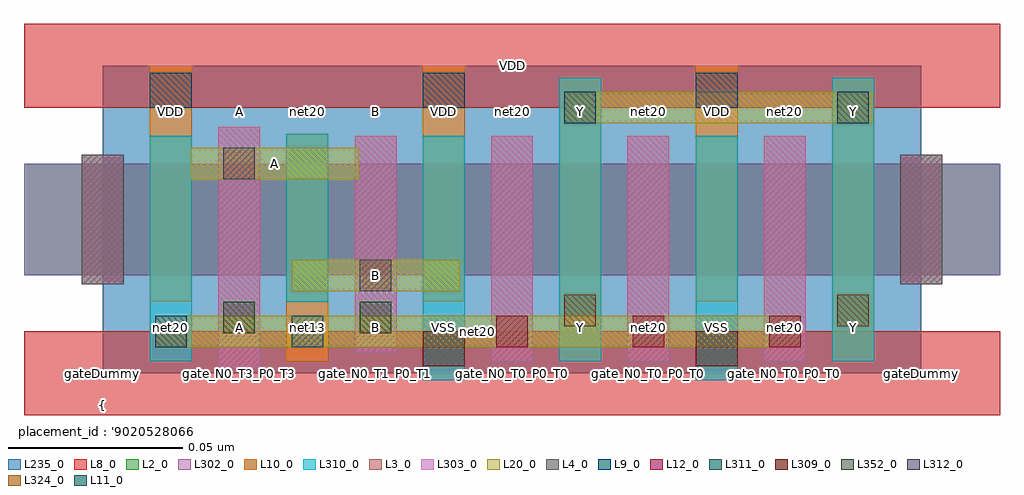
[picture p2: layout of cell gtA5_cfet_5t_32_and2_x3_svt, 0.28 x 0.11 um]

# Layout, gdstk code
import gdstk
lib = gdstk.Library(unit=1e-6, precision=2.5e-10)
def R(c, l, rs):  # rectangles x0, y0, x1, y1
    for r in rs: c.add(gdstk.rectangle(r[:2], r[2:], *l))
def A(c, l, x, y, w, h, nx, ny, dx, dy):  # array of equal rectangles
    R(c, l, [(x+i*dx, y+j*dy, x+i*dx+w, y+j*dy+h) for i in range(nx) for j in range(ny)])
L2_0 = (2, 0)
L3_0 = (3, 0)
L4_0 = (4, 0)
L8_0 = (8, 0)
L9_0 = (9, 0)
L10_0 = (10, 0)
L11_0 = (11, 0)
L12_0 = (12, 0)
L20_0 = (20, 0)
L235_0 = (235, 0)
L302_0 = (302, 0)
L303_0 = (303, 0)
L309_0 = (309, 0)
L310_0 = (310, 0)
L311_0 = (311, 0)
L312_0 = (312, 0)
L324_0 = (324, 0)
L352_0 = (352, 0)

gta5_cfet_5t_32_and2_x3_ = lib.new_cell('gtA5_cfet_5t_32_and2_x3_svt')
R(gta5_cfet_5t_32_and2_x3_, L2_0, [(-0.0225,0.028,0.2565,0.06)])
A(gta5_cfet_5t_32_and2_x3_, L3_0, 0.111, 0.0035, 0.012, 0.0645, 3, 1, 0.039, 0)
R(gta5_cfet_5t_32_and2_x3_, L3_0, [(0.033,0.0015,0.045,0.0705), (0.072,0.006,0.084,0.068), (-0.006,0.0255,0.006,0.0625), (0.228,0.0255,0.24,0.0625)])
R(gta5_cfet_5t_32_and2_x3_, L4_0, [(-0.006,0.0255,0.006,0.0625), (0.228,0.0255,0.24,0.0625)])
R(gta5_cfet_5t_32_and2_x3_, L8_0, [(-0.0225,-0.012,0.2565,0.012), (-0.0225,0.076,0.2565,0.1)])
A(gta5_cfet_5t_32_and2_x3_, L9_0, 0.0135, 0.076, 0.012, 0.01, 3, 1, 0.078, 0)
A(gta5_cfet_5t_32_and2_x3_, L10_0, 0.0135, 0.0205, 0.012, 0.0675, 3, 1, 0.078, 0)
R(gta5_cfet_5t_32_and2_x3_, L10_0, [(0.0525,0.0035,0.0645,0.0685), (0.1305,0.0035,0.1425,0.0845), (0.2085,0.0035,0.2205,0.0845)])
R(gta5_cfet_5t_32_and2_x3_, L11_0, [(0.054,0.0075,0.063,0.0165)])
A(gta5_cfet_5t_32_and2_x3_, L12_0, 0.1125, 0.0075, 0.009, 0.009, 3, 1, 0.039, 0)
R(gta5_cfet_5t_32_and2_x3_, L20_0, [(0.015,0.0075,0.1995,0.0165), (0.054,0.0235,0.102,0.0325), (0.0253,0.0555,0.0732,0.0645), (0.132,0.0715,0.22,0.0805)])
R(gta5_cfet_5t_32_and2_x3_, L235_0, [(0,0,0.234,0.088)])
R(gta5_cfet_5t_32_and2_x3_, L302_0, [(-0.0225,0.028,0.2565,0.06)])
A(gta5_cfet_5t_32_and2_x3_, L303_0, 0.111, 0.0035, 0.012, 0.0645, 3, 1, 0.039, 0)
R(gta5_cfet_5t_32_and2_x3_, L303_0, [(0.033,0.0015,0.045,0.0705), (0.072,0.006,0.084,0.068), (-0.006,0.0255,0.006,0.0625), (0.228,0.0255,0.24,0.0625)])
R(gta5_cfet_5t_32_and2_x3_, L309_0, [(0.0915,0.002,0.1035,0.012), (0.1695,0.002,0.1815,0.012)])
R(gta5_cfet_5t_32_and2_x3_, L310_0, [(0.0915,-0.002,0.1035,0.068), (0.1695,-0.002,0.1815,0.068), (0.0135,0.0035,0.0255,0.068), (0.1305,0.0035,0.1425,0.0845), (0.2085,0.0035,0.2205,0.0845), (0.0525,0.0205,0.0645,0.0685)])
R(gta5_cfet_5t_32_and2_x3_, L311_0, [(0.015,0.0075,0.024,0.0165), (0.132,0.0715,0.141,0.0805), (0.21,0.0715,0.219,0.0805)])
R(gta5_cfet_5t_32_and2_x3_, L312_0, [(0.0735,0.0235,0.0825,0.0325), (0.0345,0.0555,0.0435,0.0645)])
R(gta5_cfet_5t_32_and2_x3_, L324_0, [(0.132,0.0135,0.141,0.0225), (0.21,0.0135,0.219,0.0225)])
R(gta5_cfet_5t_32_and2_x3_, L352_0, [(0.0345,0.0115,0.0435,0.0205), (0.0735,0.0115,0.0825,0.0205)])
gta5_cfet_5t_32_and2_x3_.add(gdstk.Label('net20', (0.1072,0.012), layer=100, texttype=100))
gta5_cfet_5t_32_and2_x3_.add(gdstk.Label('gateDummy', (0,0), layer=103, texttype=103))
gta5_cfet_5t_32_and2_x3_.add(gdstk.Label('sd_N0_T0_P0_VDD', (0.0195,0), layer=103, texttype=103))
gta5_cfet_5t_32_and2_x3_.add(gdstk.Label('gate_N0_T3_P0_T3', (0.039,0), layer=103, texttype=103))
gta5_cfet_5t_32_and2_x3_.add(gdstk.Label('sd_N0_abut_P0_T0', (0.0585,0), layer=103, texttype=103))
gta5_cfet_5t_32_and2_x3_.add(gdstk.Label('gate_N0_T1_P0_T1', (0.078,0), layer=103, texttype=103))
gta5_cfet_5t_32_and2_x3_.add(gdstk.Label('sd_N0_VSS_P0_VDD', (0.0975,0), layer=103, texttype=103))
gta5_cfet_5t_32_and2_x3_.add(gdstk.Label('gate_N0_T0_P0_T0', (0.117,0), layer=103, texttype=103))
gta5_cfet_5t_32_and2_x3_.add(gdstk.Label('sd_N0_T4_P0_T4', (0.1365,0), layer=103, texttype=103))
gta5_cfet_5t_32_and2_x3_.add(gdstk.Label('gate_N0_T0_P0_T0', (0.156,0), layer=103, texttype=103))
gta5_cfet_5t_32_and2_x3_.add(gdstk.Label('sd_N0_VSS_P0_VDD', (0.1755,0), layer=103, texttype=103))
gta5_cfet_5t_32_and2_x3_.add(gdstk.Label('gate_N0_T0_P0_T0', (0.195,0), layer=103, texttype=103))
gta5_cfet_5t_32_and2_x3_.add(gdstk.Label('sd_N0_T4_P0_T4', (0.2145,0), layer=103, texttype=103))
gta5_cfet_5t_32_and2_x3_.add(gdstk.Label('gateDummy', (0.234,0), layer=103, texttype=103))
gta5_cfet_5t_32_and2_x3_.add(gdstk.Label('}', (0,-0.0963), layer=104, texttype=104))
gta5_cfet_5t_32_and2_x3_.add(gdstk.Label('  power : None', (0,-0.0875), layer=104, texttype=104))
gta5_cfet_5t_32_and2_x3_.add(gdstk.Label('  performance : None', (0,-0.0788), layer=104, texttype=104))
gta5_cfet_5t_32_and2_x3_.add(gdstk.Label("  solution_hash : '16895644861637277770'", (0,-0.07), layer=104, texttype=104))
gta5_cfet_5t_32_and2_x3_.add(gdstk.Label('  number_m2 : 0', (0,-0.0612), layer=104, texttype=104))
gta5_cfet_5t_32_and2_x3_.add(gdstk.Label('  number_m1 : 0', (0,-0.0525), layer=104, texttype=104))
gta5_cfet_5t_32_and2_x3_.add(gdstk.Label('  number_m0cuts : 0', (0,-0.0438), layer=104, texttype=104))
gta5_cfet_5t_32_and2_x3_.add(gdstk.Label('  number_m0 : 4', (0,-0.035), layer=104, texttype=104))
gta5_cfet_5t_32_and2_x3_.add(gdstk.Label("  solution_number : '0000'", (0,-0.0262), layer=104, texttype=104))
gta5_cfet_5t_32_and2_x3_.add(gdstk.Label("  placement_id : '9020528066301242170'", (0,-0.0175), layer=104, texttype=104))
gta5_cfet_5t_32_and2_x3_.add(gdstk.Label('{', (0,-0.0088), layer=104, texttype=104))
gta5_cfet_5t_32_and2_x3_.add(gdstk.Label('net20', (0.0195,0.0132), layer=105, texttype=105))
gta5_cfet_5t_32_and2_x3_.add(gdstk.Label('A', (0.039,0.0132), layer=105, texttype=105))
gta5_cfet_5t_32_and2_x3_.add(gdstk.Label('net13', (0.0585,0.0132), layer=105, texttype=105))
gta5_cfet_5t_32_and2_x3_.add(gdstk.Label('B', (0.078,0.0132), layer=105, texttype=105))
gta5_cfet_5t_32_and2_x3_.add(gdstk.Label('VSS', (0.0975,0.0132), layer=105, texttype=105))
gta5_cfet_5t_32_and2_x3_.add(gdstk.Label('net20', (0.117,0.0132), layer=105, texttype=105))
gta5_cfet_5t_32_and2_x3_.add(gdstk.Label('Y', (0.1365,0.0132), layer=105, texttype=105))
gta5_cfet_5t_32_and2_x3_.add(gdstk.Label('net20', (0.156,0.0132), layer=105, texttype=105))
gta5_cfet_5t_32_and2_x3_.add(gdstk.Label('VSS', (0.1755,0.0132), layer=105, texttype=105))
gta5_cfet_5t_32_and2_x3_.add(gdstk.Label('net20', (0.195,0.0132), layer=105, texttype=105))
gta5_cfet_5t_32_and2_x3_.add(gdstk.Label('Y', (0.2145,0.0132), layer=105, texttype=105))
gta5_cfet_5t_32_and2_x3_.add(gdstk.Label('VDD', (0.0195,0.0747), layer=105, texttype=105))
gta5_cfet_5t_32_and2_x3_.add(gdstk.Label('A', (0.039,0.0747), layer=105, texttype=105))
gta5_cfet_5t_32_and2_x3_.add(gdstk.Label('net20', (0.0585,0.0747), layer=105, texttype=105))
gta5_cfet_5t_32_and2_x3_.add(gdstk.Label('B', (0.078,0.0747), layer=105, texttype=105))
gta5_cfet_5t_32_and2_x3_.add(gdstk.Label('VDD', (0.0975,0.0747), layer=105, texttype=105))
gta5_cfet_5t_32_and2_x3_.add(gdstk.Label('net20', (0.117,0.0747), layer=105, texttype=105))
gta5_cfet_5t_32_and2_x3_.add(gdstk.Label('Y', (0.1365,0.0747), layer=105, texttype=105))
gta5_cfet_5t_32_and2_x3_.add(gdstk.Label('net20', (0.156,0.0747), layer=105, texttype=105))
gta5_cfet_5t_32_and2_x3_.add(gdstk.Label('VDD', (0.1755,0.0747), layer=105, texttype=105))
gta5_cfet_5t_32_and2_x3_.add(gdstk.Label('net20', (0.195,0.0747), layer=105, texttype=105))
gta5_cfet_5t_32_and2_x3_.add(gdstk.Label('Y', (0.2145,0.0747), layer=105, texttype=105))
gta5_cfet_5t_32_and2_x3_.add(gdstk.Label('VSS', (0.117,0), layer=8, texttype=0))
gta5_cfet_5t_32_and2_x3_.add(gdstk.Label('VDD', (0.117,0.088), layer=8, texttype=0))
gta5_cfet_5t_32_and2_x3_.add(gdstk.Label('B', (0.078,0.028), layer=20, texttype=251))
gta5_cfet_5t_32_and2_x3_.add(gdstk.Label('A', (0.0493,0.06), layer=20, texttype=251))
gta5_cfet_5t_32_and2_x3_.add(gdstk.Label('Y', (0.176,0.076), layer=20, texttype=251))
gta5_cfet_5t_32_and2_x3_.add(gdstk.Label('gtA5_cfet_5t_32_and2_x3_rvt_0', (0,0), layer=235, texttype=0))

lib.write_gds('gtA5_cfet_5t_32_and2_x3_svt.gds')
